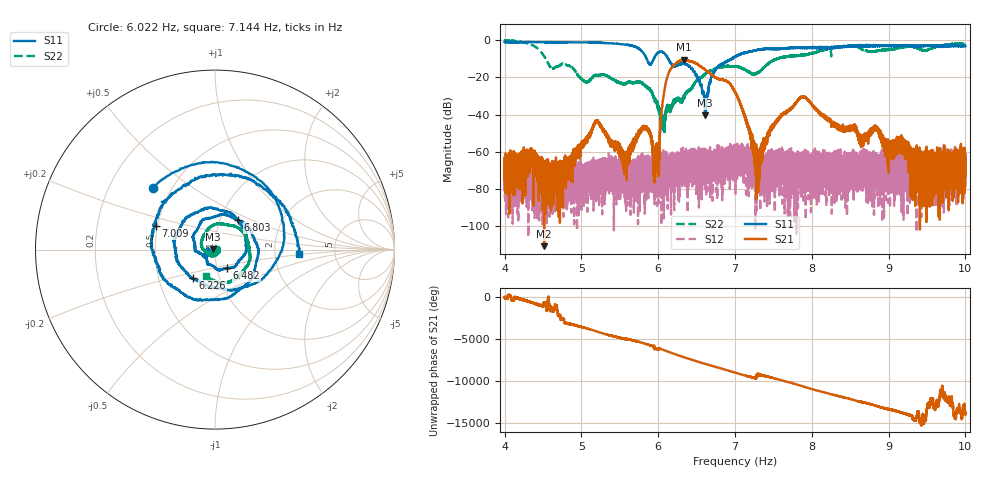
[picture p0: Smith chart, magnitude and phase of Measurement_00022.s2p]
!Created with skrf (http://scikit-rf.org).
# Hz S RI R 50.0
!freq ReS11 ImS11 ReS21 ImS21 ReS12 ImS12 ReS22 ImS22
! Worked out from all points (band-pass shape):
!   14001 points, 4 Hz to 10 Hz, reference 50 ohm
!   highest |S21| = -10.43 dB at 6.334 Hz (marker M1); lowest = -110.7 dB at 4.515 Hz (marker M2)
!   |S21| within 3 dB of the highest: 6.202 Hz to 6.53 Hz (327.6 mHz wide, 5.15 % of centre); 6.530124 Hz to 6.531021 Hz (897 uHz wide, 0.0137 % of centre)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
!   lowest |S11| = -40.4 dB at 6.612 Hz (marker M3), VSWR 1.02, Z = 49.1 + j0.0619 ohm
!   |S11| at or under -10 dB: 5.85 Hz to 5.943 Hz (92.93 mHz wide, 1.58 % of centre); 6.13 Hz to 6.956 Hz (826 mHz wide, 12.6 % of centre); 6.955929 Hz to 6.956933 Hz (1.003 mHz wide, 0.0144 % of centre)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
!   |S22| runs from -50.8 to -0.2 dB; largest |S21 - S12| = 0.3
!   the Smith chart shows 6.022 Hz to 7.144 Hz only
!   S11 on the Smith chart (normalised r, x): 6.022 Hz: 0.40, +0.36; 6.226 Hz: 0.75, -0.25; 6.482 Hz: 1.12, -0.23; 6.803 Hz: 1.21, +0.42; 7.009 Hz: 0.49, +0.15; 7.144 Hz: 2.74, -0.19
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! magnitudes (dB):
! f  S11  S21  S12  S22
! 4 Hz  -1.1  -63.2  -76.1  -0.2
! 4.515 Hz  -1.1  -110.7  -81.3  -8.6
! 5 Hz  -1.2  -57.1  -71.9  -20.7
! 5.203 Hz  -1.4  -43.3  -77.0  -18.8
! 5.566 Hz  -2.4  -70.0  -71.4  -23.6
! 5.814 Hz  -7.4  -47.3  -66.6  -24.1
! 6 Hz  -6.7  -64.1  -78.7  -35.6
! 6.022 Hz  -6.2  -49.1  -71.4  -38.9
! 6.099 Hz  -8.0  -22.9  -68.2  -38.7
! 6.226 Hz  -14.0  -12.5  -75.0  -32.4
! 6.334 Hz  -12.6  -10.4  -71.0  -31.0
! 6.482 Hz  -18.2  -12.4  -67.3  -22.8
! 6.612 Hz  -40.4  -15.9  -62.3  -18.1
! 6.803 Hz  -13.6  -20.9  -61.6  -14.6
! 7 Hz  -9.0  -27.8  -59.7  -14.0
! 7.009 Hz  -9.0  -28.6  -62.7  -14.0
! 7.144 Hz  -6.6  -42.7  -65.8  -16.2
! 7.298 Hz  -5.3  -66.6  -78.9  -17.5
! 7.604 Hz  -4.7  -40.7  -62.3  -9.3
! 8 Hz  -4.2  -34.8  -85.0  -6.9
! 9 Hz  -3.1  -60.3  -73.6  -5.1
! 10 Hz  -3.3  -68.5  -64.8  -3.1
